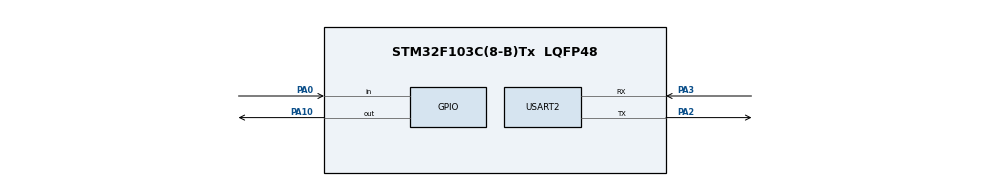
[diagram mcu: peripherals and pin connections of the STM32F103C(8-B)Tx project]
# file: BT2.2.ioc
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FREERTOS.Tasks01=defaultTask,0,128,StartDefaultTask,Default,NULL,Dynamic,NULL,NULL
Mcu.Family=STM32F1
Mcu.Name=STM32F103C(8-B)Tx
Mcu.Package=LQFP48
NVIC.PriorityGroup=NVIC_PRIORITYGROUP_4
PA0-WKUP.Signal=GPIO_Input
PA10.Signal=GPIO_Output
PA2.Mode=Asynchronous
PA2.Signal=USART2_TX
PA3.Mode=Asynchronous
PA3.Signal=USART2_RX
ProjectManager.HeapSize=0x200
ProjectManager.StackSize=0x400
ProjectManager.TargetToolchain=STM32CubeIDE
RCC.APB1Freq_Value=8000000
RCC.APB2Freq_Value=8000000
USART2.VirtualMode=VM_ASYNC
VP_FREERTOS_VS_CMSIS_V1.Mode=CMSIS_V1
board=custom

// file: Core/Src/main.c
/* USER CODE BEGIN Header */
/**
  ******************************************************************************
  * @file           : main.c
  * @brief          : Main program body
  ******************************************************************************
  * @attention
  *
  * Copyright (c) 2024 STMicroelectronics.
  * All rights reserved.
  *
  * This software is licensed under terms that can be found in the LICENSE file
  * in the root directory of this software component.
  * If no LICENSE file comes with this software, it is provided AS-IS.
  *
  ******************************************************************************
  */
/* USER CODE END Header */
#include "main.h"
#include "cmsis_os.h"

UART_HandleTypeDef huart2;

osThreadId defaultTaskHandle;

void SystemClock_Config(void);
static void MX_GPIO_Init(void);
static void MX_USART2_UART_Init(void);
void StartDefaultTask(void const * argument);

/* USER CODE BEGIN 0 */
/* Khai báo queue */
xQueueHandle xQueueLED, xQueueSW;

/* Task LED */
void vTaskLED(void *pvParameters) {
  while (1) {
    /* Đợi tin nhắn từ queue */
    eQueueStatus status = xQueueReceive(xQueueLED, &ledState, portMAX_DELAY);
    if (status == pdPASS) {
      /* Cập nhật trạng thái LED */
      HAL_GPIO_WritePin(LED_GPIO_Port, LED_GPIO_Pin, ledState);
    }
  }
}

/* Task SW */
void vTaskSW(void *pvParameters) {
  while (1) {
    /* Đọc trạng thái nút nhấn */
    GPIO_PinState buttonState = HAL_GPIO_ReadPin(BUTTON_GPIO_Port, BUTTON_GPIO_Pin);

    /* Xử lý sự kiện nút nhấn */
    if (buttonState == GPIO_PIN_SET) {
      /* Nhấn nút: Đảo trạng thái LED */
      ledState = !ledState;
      xQueueSend(xQueueSW, &ledState, 0);
    }
  }
}

/* Task UART */
void vTaskUART(void *pvParameters) {
  while (1) {
    /* Nhận dữ liệu từ UART */
    uint8_t buffer[10];
    int len = HAL_UART_Receive(&huart1, buffer, sizeof(buffer), 1000);

    /* Xử lý dữ liệu nhận được */
    if (len > 0) {
      if (strncmp((char *)buffer, "ON\r\n", 4) == 0) {
        ledState = 1;
        xQueueSend(xQueueLED, &ledState, 0);
      } else if (strncmp((char *)buffer, "OFF\r\n", 5) == 0) {
        ledState = 0;
        xQueueSend(xQueueLED, &ledState, 0);
      } else if (strncmp((char *)buffer, "TOGGLE\r\n", 7) == 0) {
        ledState = !ledState;
        xQueueSend(xQueueLED, &ledState, 0);
      }
    }
  }
}
/* Task SW */
void vTaskSW(void *pvParameters) {
  while (1) {
    /* Đọc trạng thái nút nhấn */
    GPIO_PinState buttonState = HAL_GPIO_ReadPin(BUTTON_GPIO_Port, BUTTON_GPIO_Pin);

    /* Xử lý sự kiện nút nhấn */
    if (buttonState == GPIO_PIN_SET) {
      /* Nhấn nút: Đảo trạng thái LED */
      ledState = !ledState;
      xQueueSend(xQueueSW, &ledState, 0);
    }
  }
}
/* USER CODE END 0 */

int main(void)
{
  /* USER CODE BEGIN 1 */
	  /* Khởi tạo queue */
	  xQueueLED = xQueueCreate(1, sizeof(uint8_t));
	  xQueueSW = xQueueCreate(1, sizeof(uint8_t));

	  /* Tạo task */
	  xTaskCreate(vTaskLED, "LED", 128, NULL, 1, NULL);
	  xTaskCreate(vTaskSW, "SW", 128, NULL, 2, NULL);
	  xTaskCreate(vTaskUART, "UART", 128, NULL, 3, NULL);

	  /* Khởi chạy scheduler */
	  vTaskStartScheduler();

  /* USER CODE END 1 */

  /* MCU Configuration--------------------------------------------------------*/

  /* Reset of all peripherals, Initializes the Flash interface and the Systick. */
  HAL_Init();

  /* Configure the system clock */
  SystemClock_Config();

  /* Initialize all configured peripherals */
  MX_GPIO_Init();
  MX_USART2_UART_Init();

  /* Create the thread(s) */
  /* definition and creation of defaultTask */
  osThreadDef(defaultTask, StartDefaultTask, osPriorityNormal, 0, 128);
  defaultTaskHandle = osThreadCreate(osThread(defaultTask), NULL);

  /* Start scheduler */
  osKernelStart();

  /* We should never get here as control is now taken by the scheduler */
  /* Infinite loop */
  while (1)
  {

  }
}

void SystemClock_Config(void)
{
  RCC_OscInitTypeDef RCC_OscInitStruct = {0};
  RCC_ClkInitTypeDef RCC_ClkInitStruct = {0};

  /** Initializes the RCC Oscillators according to the specified parameters
  * in the RCC_OscInitTypeDef structure.
  */
  RCC_OscInitStruct.OscillatorType = RCC_OSCILLATORTYPE_HSI;
  RCC_OscInitStruct.HSIState = RCC_HSI_ON;
  RCC_OscInitStruct.HSICalibrationValue = RCC_HSICALIBRATION_DEFAULT;
  RCC_OscInitStruct.PLL.PLLState = RCC_PLL_NONE;
  if (HAL_RCC_OscConfig(&RCC_OscInitStruct) != HAL_OK)
  {
    Error_Handler();
  }

  /** Initializes the CPU, AHB and APB buses clocks
  */
  RCC_ClkInitStruct.ClockType = RCC_CLOCKTYPE_HCLK|RCC_CLOCKTYPE_SYSCLK
                              |RCC_CLOCKTYPE_PCLK1|RCC_CLOCKTYPE_PCLK2;
  RCC_ClkInitStruct.SYSCLKSource = RCC_SYSCLKSOURCE_HSI;
  RCC_ClkInitStruct.AHBCLKDivider = RCC_SYSCLK_DIV1;
  RCC_ClkInitStruct.APB1CLKDivider = RCC_HCLK_DIV1;
  RCC_ClkInitStruct.APB2CLKDivider = RCC_HCLK_DIV1;

  if (HAL_RCC_ClockConfig(&RCC_ClkInitStruct, FLASH_LATENCY_0) != HAL_OK)
  {
    Error_Handler();
  }
}

static void MX_USART2_UART_Init(void)
{

  huart2.Instance = USART2;
  huart2.Init.BaudRate = 115200;
  huart2.Init.WordLength = UART_WORDLENGTH_8B;
  huart2.Init.StopBits = UART_STOPBITS_1;
  huart2.Init.Parity = UART_PARITY_NONE;
  huart2.Init.Mode = UART_MODE_TX_RX;
  huart2.Init.HwFlowCtl = UART_HWCONTROL_NONE;
  huart2.Init.OverSampling = UART_OVERSAMPLING_16;
  if (HAL_UART_Init(&huart2) != HAL_OK)
  {
    Error_Handler();
  }

}

static void MX_GPIO_Init(void)
{
  GPIO_InitTypeDef GPIO_InitStruct = {0};

  /* GPIO Ports Clock Enable */
  __HAL_RCC_GPIOA_CLK_ENABLE();

  /*Configure GPIO pin Output Level */
  HAL_GPIO_WritePin(GPIOA, GPIO_PIN_10, GPIO_PIN_RESET);

  /*Configure GPIO pin : PA0 */
  GPIO_InitStruct.Pin = GPIO_PIN_0;
  GPIO_InitStruct.Mode = GPIO_MODE_INPUT;
  GPIO_InitStruct.Pull = GPIO_NOPULL;
  HAL_GPIO_Init(GPIOA, &GPIO_InitStruct);

  /*Configure GPIO pin : PA10 */
  GPIO_InitStruct.Pin = GPIO_PIN_10;
  GPIO_InitStruct.Mode = GPIO_MODE_OUTPUT_PP;
  GPIO_InitStruct.Pull = GPIO_NOPULL;
  GPIO_InitStruct.Speed = GPIO_SPEED_FREQ_LOW;
  HAL_GPIO_Init(GPIOA, &GPIO_InitStruct);

}

void StartDefaultTask(void const * argument)
{
  for(;;)
  {
    osDelay(1);
  }
}

void Error_Handler(void)
{
  __disable_irq();
  while (1)
  {
  }
}
